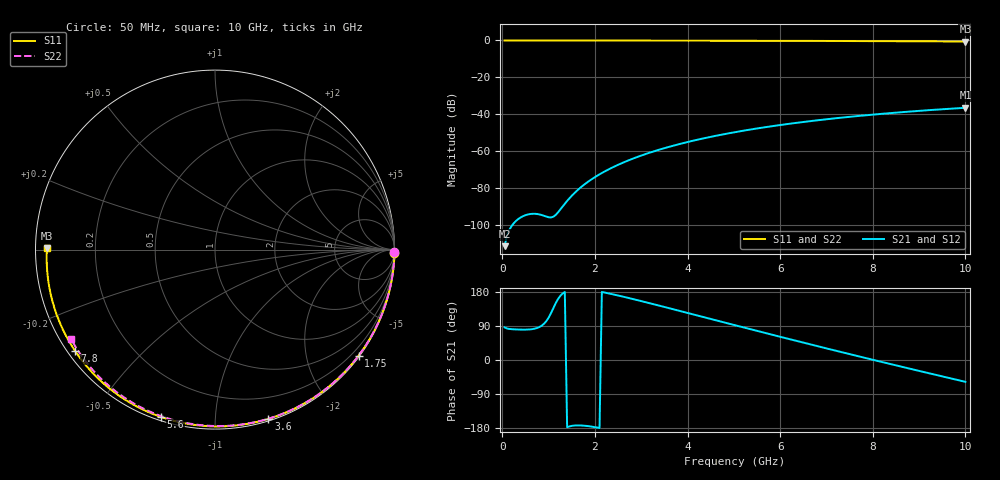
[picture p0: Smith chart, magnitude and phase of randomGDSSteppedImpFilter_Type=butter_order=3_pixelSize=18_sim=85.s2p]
! freq	dB(S11)	phase(S11)	dB(S12)	phase(S12)
!  dB(S21)	phase(S21)	dB(S22)	phase(S22)
!S-par simulation data
#  GHz  S  DB  R 50
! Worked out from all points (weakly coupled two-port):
!   200 points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, 50 MHz to 10 GHz, reference 50 ohm
!   highest |S21| = -36.57 dB at 10 GHz (marker M1); lowest = -111.7 dB at 50 MHz (marker M2)
!   lowest |S11| = -0.6 dB at 10 GHz (marker M3), VSWR 30.39, Z = 1.65 + j0.231 ohm
!   |S11| at or under -10 dB: nowhere
!   |S22| runs from -0.5 to 0.0 dB; largest |S21 - S12| = 0
!   S11 on the Smith chart (normalised r, x): 50 MHz: open; 1.75 GHz: 0.03, -3.03; 3.6 GHz: 0.02, -1.36; 5.6 GHz: 0.02, -0.73; 7.8 GHz: 0.02, -0.32; 10 GHz: 0.03, +0.00
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0.05  -0.00 -1.1  -111.69 85.9  -111.69 85.9  -0.00 -0.9
0.4  -0.01 -8.5  -96.04 80.2  -96.04 80.2  -0.01 -6.9
0.8  -0.02 -16.9  -94.44 86.9  -94.44 86.9  -0.02 -13.7
1.2  -0.03 -25.2  -93.46 160.2  -93.46 160.2  -0.03 -20.5
1.65  -0.04 -34.4  -80.72 -172.6  -80.72 -172.6  -0.04 -28.0
1.7  -0.05 -35.5  -79.65 -172.8  -79.65 -172.8  -0.04 -28.8
1.75  -0.05 -36.5  -78.63 -173.1  -78.63 -173.1  -0.04 -29.6
2.05  -0.05 -42.5  -73.43 -178.2  -73.43 -178.2  -0.04 -34.6
2.45  -0.06 -50.5  -68.10 171.6  -68.10 171.6  -0.05 -41.1
2.9  -0.08 -59.2  -63.40 158.5  -63.40 158.5  -0.06 -48.4
3.4  -0.09 -68.8  -59.21 143.1  -59.21 143.1  -0.08 -56.3
3.6  -0.10 -72.5  -57.76 136.8  -57.76 136.8  -0.08 -59.4
4.3  -0.12 -85.3  -53.40 114.7  -53.40 114.7  -0.10 -70.1
5.05  -0.15 -98.5  -49.68 91.0  -49.68 91.0  -0.13 -81.2
5.6  -0.18 -107.9  -47.39 73.7  -47.39 73.7  -0.15 -89.1
6.15  -0.21 -117.1  -45.40 56.6  -45.40 56.6  -0.17 -96.8
6.7  -0.24 -126.2  -43.65 39.7  -43.65 39.7  -0.20 -104.4
7.25  -0.28 -135.1  -42.10 23.0  -42.10 23.0  -0.24 -111.8
7.8  -0.33 -144.0  -40.73 6.5  -40.73 6.5  -0.28 -119.1
8.35  -0.38 -153.0  -39.50 -9.8  -39.50 -9.8  -0.32 -126.4
9.2  -0.47 -166.9  -37.86 -34.6  -37.86 -34.6  -0.41 -137.5
10  -0.57 179.5  -36.57 -57.6  -36.57 -57.6  -0.50 -148.0
